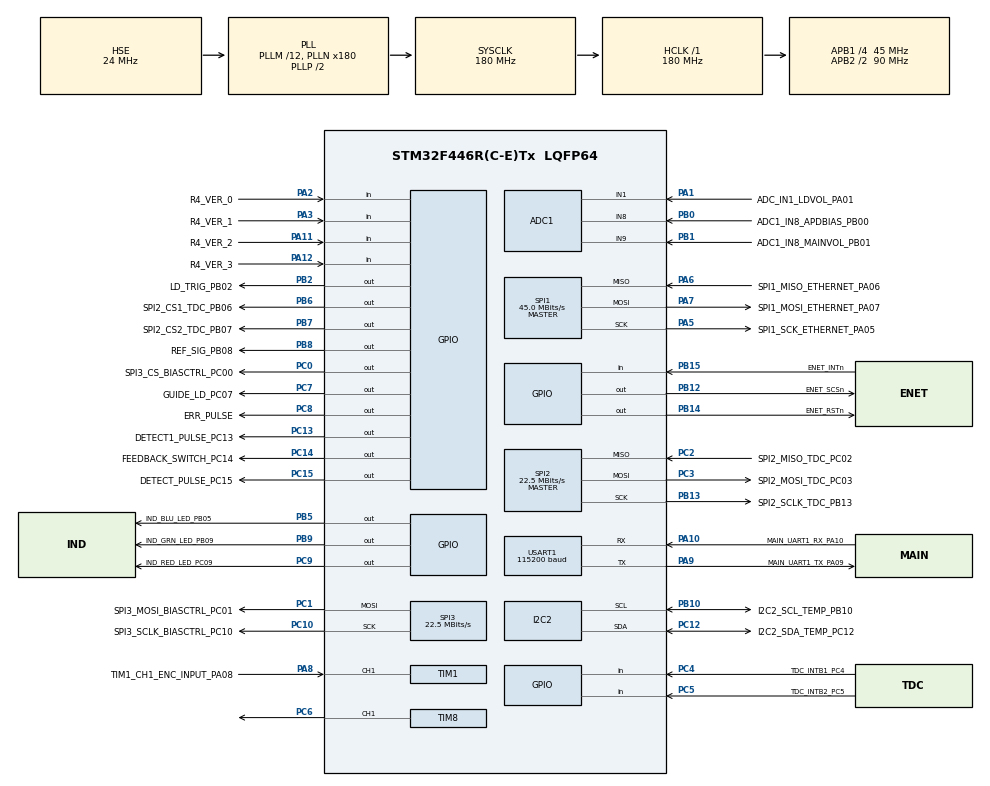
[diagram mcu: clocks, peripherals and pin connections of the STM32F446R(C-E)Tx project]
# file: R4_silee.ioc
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ADC1.Channel-0\#ChannelRegularConversion=ADC_CHANNEL_1
ADC1.NbrOfConversion=1
ADC1.NbrOfConversionFlag=1
ADC1.Rank-0\#ChannelRegularConversion=1
ADC1.SamplingTime-0\#ChannelRegularConversion=ADC_SAMPLETIME_3CYCLES
ADC1.master=1
I2C2.GeneralCallMode=I2C_GENERALCALL_ENABLE
I2C2.I2C_Mode=I2C_Fast
Mcu.Family=STM32F4
Mcu.Name=STM32F446R(C-E)Tx
Mcu.Package=LQFP64
NVIC.PriorityGroup=NVIC_PRIORITYGROUP_4
NVIC.TIM1_CC_IRQn=true\:4\:0\:true\:false\:true\:true\:true\:true
NVIC.TIM2_IRQn=true\:2\:0\:true\:false\:true\:true\:true\:true
NVIC.USART1_IRQn=true\:1\:0\:true\:false\:true\:true\:true\:true
PA1.GPIO_Label=ADC_IN1_LDVOL_PA01
PA1.Signal=ADCx_IN1
PA10.GPIO_Label=MAIN_UART1_RX_PA10
PA10.Mode=Asynchronous
PA10.Signal=USART1_RX
PA11.GPIO_Label=R4_VER_2
PA11.Signal=GPIO_Input
PA12.GPIO_Label=R4_VER_3
PA12.Signal=GPIO_Input
PA13.GPIO_Label=SYS_JTMS_PA13
PA13.Mode=JTAG_5_pins
PA13.Signal=SYS_JTMS-SWDIO
PA14.GPIO_Label=SYS_JTCK_PA14
PA14.Mode=JTAG_5_pins
PA14.Signal=SYS_JTCK-SWCLK
PA15.GPIO_Label=SYS_JTDI_PA15
PA15.Mode=JTAG_5_pins
PA15.Signal=SYS_JTDI
PA2.GPIO_Label=R4_VER_0
PA2.Signal=GPIO_Input
PA3.GPIO_Label=R4_VER_1
PA3.Signal=GPIO_Input
PA5.GPIO_Label=SPI1_SCK_ETHERNET_PA05
PA5.Mode=Full_Duplex_Master
PA5.Signal=SPI1_SCK
PA6.GPIO_Label=SPI1_MISO_ETHERNET_PA06
PA6.Mode=Full_Duplex_Master
PA6.Signal=SPI1_MISO
PA7.GPIO_Label=SPI1_MOSI_ETHERNET_PA07
PA7.Mode=Full_Duplex_Master
PA7.Signal=SPI1_MOSI
PA8.GPIO_Label=TIM1_CH1_ENC_INPUT_PA08
PA8.GPIO_Speed=GPIO_SPEED_FREQ_VERY_HIGH
PA8.Signal=S_TIM1_CH1
PA9.GPIO_Label=MAIN_UART1_TX_PA09
PA9.Mode=Asynchronous
PA9.Signal=USART1_TX
PB0.GPIO_Label=ADC1_IN8_APDBIAS_PB00
PB0.Signal=ADCx_IN8
PB1.GPIO_Label=ADC1_IN8_MAINVOL_PB01
PB1.Signal=ADCx_IN9
PB10.GPIO_Label=I2C2_SCL_TEMP_PB10
PB10.Mode=I2C
PB10.Signal=I2C2_SCL
PB12.GPIO_Label=ENET_SCSn
PB12.GPIO_Speed=GPIO_SPEED_FREQ_HIGH
PB12.Signal=GPIO_Output
PB13.GPIO_Label=SPI2_SCLK_TDC_PB13
PB13.Mode=Full_Duplex_Master
PB13.Signal=SPI2_SCK
PB14.GPIO_Label=ENET_RSTn
PB14.GPIO_Speed=GPIO_SPEED_FREQ_HIGH
PB14.Signal=GPIO_Output
PB15.GPIO_Label=ENET_INTn
PB15.Signal=GPIO_Input
PB2.GPIO_Label=LD_TRIG_PB02
PB2.GPIO_PuPd=GPIO_PULLDOWN
PB2.GPIO_Speed=GPIO_SPEED_FREQ_VERY_HIGH
PB2.Signal=GPIO_Output
PB3.Mode=JTAG_5_pins
PB3.Signal=SYS_JTDO-SWO
PB4.GPIO_Label=SYS_JTRST_PB04
PB4.Mode=JTAG_5_pins
PB4.Signal=SYS_JTRST
PB5.GPIO_Label=IND_BLU_LED_PB05
PB5.Signal=GPIO_Output
PB6.GPIO_Label=SPI2_CS1_TDC_PB06
PB6.GPIO_PuPd=GPIO_PULLUP
PB6.GPIO_Speed=GPIO_SPEED_FREQ_VERY_HIGH
PB6.PinState=GPIO_PIN_SET
PB6.Signal=GPIO_Output
PB7.GPIO_Label=SPI2_CS2_TDC_PB07
PB7.GPIO_PuPd=GPIO_PULLUP
PB7.GPIO_Speed=GPIO_SPEED_FREQ_VERY_HIGH
PB7.PinState=GPIO_PIN_SET
PB7.Signal=GPIO_Output
PB8.GPIO_Label=REF_SIG_PB08
PB8.GPIO_Speed=GPIO_SPEED_FREQ_VERY_HIGH
PB8.Signal=GPIO_Output
PB9.GPIO_Label=IND_GRN_LED_PB09
PB9.Signal=GPIO_Output
PC0.GPIO_Label=SPI3_CS_BIASCTRL_PC00
PC0.GPIO_Speed=GPIO_SPEED_FREQ_VERY_HIGH
PC0.Signal=GPIO_Output
PC1.GPIO_Label=SPI3_MOSI_BIASCTRL_PC01
PC1.Mode=TX_Only_Simplex_Unidirect_Master
PC1.Signal=SPI3_MOSI
PC10.GPIO_Label=SPI3_SCLK_BIASCTRL_PC10
PC10.Mode=TX_Only_Simplex_Unidirect_Master
PC10.Signal=SPI3_SCK
PC12.GPIO_Label=I2C2_SDA_TEMP_PC12
PC12.Mode=I2C
PC12.Signal=I2C2_SDA
PC13.GPIO_Label=DETECT1_PULSE_PC13
PC13.Signal=GPIO_Output
PC14-OSC32_IN.GPIO_Label=FEEDBACK_SWITCH_PC14
PC14-OSC32_IN.Signal=GPIO_Output
PC15-OSC32_OUT.GPIO_Label=DETECT_PULSE_PC15
PC15-OSC32_OUT.Signal=GPIO_Output
PC2.GPIO_Label=SPI2_MISO_TDC_PC02
PC2.Mode=Full_Duplex_Master
PC2.Signal=SPI2_MISO
PC3.GPIO_Label=SPI2_MOSI_TDC_PC03
PC3.Mode=Full_Duplex_Master
PC3.Signal=SPI2_MOSI
PC4.GPIO_Label=TDC_INTB1_PC4
PC4.Signal=GPIO_Input
PC5.GPIO_Label=TDC_INTB2_PC5
PC5.Signal=GPIO_Input
PC6.Signal=S_TIM8_CH1
PC7.GPIO_Label=GUIDE_LD_PC07
PC7.Signal=GPIO_Output
PC8.GPIO_Label=ERR_PULSE
PC8.Signal=GPIO_Output
PC9.GPIO_Label=IND_RED_LED_PC09
PC9.Signal=GPIO_Output
PH0-OSC_IN.GPIO_Label=MCU_MAIN_CLK
PH0-OSC_IN.Mode=HSE-External-Oscillator
PH0-OSC_IN.Signal=RCC_OSC_IN
PH1-OSC_OUT.Mode=HSE-External-Oscillator
PH1-OSC_OUT.Signal=RCC_OSC_OUT
ProjectManager.HeapSize=0x4000
ProjectManager.StackSize=0x4000
ProjectManager.TargetToolchain=STM32CubeIDE
RCC.48MHZClocksFreq_Value=84000000
RCC.AHBFreq_Value=180000000
RCC.APB1CLKDivider=RCC_HCLK_DIV4
RCC.APB1Freq_Value=45000000
RCC.APB1TimFreq_Value=90000000
RCC.APB2CLKDivider=RCC_HCLK_DIV2
RCC.APB2Freq_Value=90000000
RCC.APB2TimFreq_Value=180000000
RCC.CortexFreq_Value=180000000
RCC.DATA_CACHE_ENABLE=1
RCC.FLatency-AdvancedSettings=FLASH_LATENCY_5
RCC.HCLKFreq_Value=180000000
RCC.HSE_VALUE=24000000
RCC.HSI_VALUE=16000000
RCC.INSTRUCTION_CACHE_ENABLE=1
RCC.PLLM=12
RCC.PLLN=180
RCC.PLLSourceVirtual=RCC_PLLSOURCE_HSE
RCC.PREFETCH_ENABLE=1
RCC.RCC_TIM_PRescaler_Selection=RCC_TIMPRES_DESACTIVATED
RCC.SYSCLKFreq_VALUE=180000000
RCC.SYSCLKSource=RCC_SYSCLKSOURCE_PLLCLK
RCC.USBFreq_Value=180000000
RCC.VCOOutputFreq_Value=360000000
SH.ADCx_IN1.0=ADC1_IN1,IN1
SH.ADCx_IN8.0=ADC1_IN8,IN8
SH.ADCx_IN9.0=ADC1_IN9,IN9
SH.S_TIM1_CH1.0=TIM1_CH1,Input_Capture1_from_TI1
SH.S_TIM8_CH1.0=TIM8_CH1,PWM Generation1 CH1
SPI1.BaudRatePrescaler=SPI_BAUDRATEPRESCALER_2
SPI1.CalculateBaudRate=45.0 MBits/s
SPI1.Direction=SPI_DIRECTION_2LINES
SPI1.Mode=SPI_MODE_MASTER
SPI1.VirtualType=VM_MASTER
SPI2.BaudRatePrescaler=SPI_BAUDRATEPRESCALER_2
SPI2.CalculateBaudRate=22.5 MBits/s
SPI2.DataSize=SPI_DATASIZE_16BIT
SPI2.Direction=SPI_DIRECTION_2LINES
SPI2.Mode=SPI_MODE_MASTER
SPI2.VirtualType=VM_MASTER
SPI3.BaudRatePrescaler=SPI_BAUDRATEPRESCALER_2
SPI3.CalculateBaudRate=22.5 MBits/s
SPI3.DataSize=SPI_DATASIZE_16BIT
SPI3.Direction=SPI_DIRECTION_2LINES
SPI3.Mode=SPI_MODE_MASTER
SPI3.VirtualType=VM_MASTER
TIM1.Channel-Input_Capture1_from_TI1=TIM_CHANNEL_1
TIM1.ICPolarity_CH1=TIM_INPUTCHANNELPOLARITY_RISING
TIM1.Period=65535
TIM1.Prescaler=180-1
TIM2.Period=20699
TIM2.Prescaler=0
TIM8.Channel-PWM\ Generation1\ CH1=TIM_CHANNEL_1
TIM8.Period=20000-1
TIM8.Pulse-PWM\ Generation1\ CH1=2455
USART1.BaudRate=115200
USART1.VirtualMode=VM_ASYNC
VP_TIM1_VS_ClockSourceINT.Mode=Internal
VP_TIM2_VS_ClockSourceINT.Mode=Internal
VP_TIM3_VS_ClockSourceINT.Mode=Internal
VP_TIM8_VS_ClockSourceINT.Mode=Internal
board=NUCLEO-F446RE

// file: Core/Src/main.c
/* USER CODE BEGIN Header */
/**
  ******************************************************************************
  * @file           : main.c
  * @brief          : Main program body
  ******************************************************************************
  * @attention
  *
  * Copyright (c) 2025 STMicroelectronics.
  * All rights reserved.
  *
  * This software is licensed under terms that can be found in the LICENSE file
  * in the root directory of this software component.
  * If no LICENSE file comes with this software, it is provided AS-IS.
  *
  ******************************************************************************
  */
/* USER CODE END Header */
#include "main.h"
#include "adc.h"
#include "i2c.h"
#include "spi.h"
#include "tim.h"
#include "usart.h"
#include "gpio.h"

/* USER CODE BEGIN Includes */
#include "com.h"
#include "tmp.h"
#include "TDC.h"
#include "LD.h"
#include "enc.h"
#include <stdio.h>
/* USER CODE END Includes */

/* USER CODE BEGIN PD */
extern I2C_HandleTypeDef hi2c2;
extern UART_HandleTypeDef huart1;
extern unsigned int read_done;

int com_Flag = 0;
int LD_Flag = 0;
int enc_Flag = 0;
/* USER CODE END PD */

/* USER CODE BEGIN PV */

uint8_t rx_ch;
uint8_t rx_line[64];
volatile uint16_t rx_idx = 0;

/* USER CODE END PV */

void SystemClock_Config(void);

/* USER CODE BEGIN 0 */

int __io_putchar(int ch){
 	uint8_t c = (uint8_t)ch;
 	HAL_UART_Transmit(&huart1, &c, 1, HAL_MAX_DELAY);
     return ch;
 }
/* USER CODE END 0 */

int main(void)
{

  /* MCU Configuration--------------------------------------------------------*/

  /* Reset of all peripherals, Initializes the Flash interface and the Systick. */
  HAL_Init();

  /* Configure the system clock */
  SystemClock_Config();

  /* Initialize all configured peripherals */
  MX_GPIO_Init();
  MX_SPI1_Init();
  MX_USART1_UART_Init();
  MX_ADC1_Init();
  MX_TIM1_Init();
  MX_SPI2_Init();
  MX_SPI3_Init();
  MX_I2C2_Init();
  MX_TIM2_Init();
  MX_TIM8_Init();
  MX_TIM3_Init();
  /* USER CODE BEGIN 2 */
  HAL_GPIO_WritePin(GPIOB,IND_GRN_LED_PB09_Pin,GPIO_PIN_SET);
  HAL_UART_Receive_IT(&huart1, &rx_ch, 1);		// use for UART (TeraTerm)
  Com_Init();
  __HAL_SPI_ENABLE(&hspi1);
  __HAL_SPI_ENABLE(&hspi2);
  __HAL_SPI_ENABLE(&hspi3);
  TDC_Init();
  /* USER CODE END 2 */

  /* Infinite loop */
  while (1)
  {

    /* USER CODE BEGIN 3 */
	  	 if(com_Flag == 1) {
	  		Com_OnRxChar(rx_ch);
	  		HAL_UART_Receive_IT(&huart1, &rx_ch, 1);
	  		com_Flag = 0;
	  	}

		  if(LD_Flag == 1) {
			  LD_ON();
			  LD_Flag = 0;
		  }

		  if(enc_Flag == 1) {
			  enc_read();
			  enc_Flag = 0;
		  }
	  	  enc_calc();
  }
  /* USER CODE END 3 */
}

void SystemClock_Config(void)
{
  RCC_OscInitTypeDef RCC_OscInitStruct = {0};
  RCC_ClkInitTypeDef RCC_ClkInitStruct = {0};

  /** Configure the main internal regulator output voltage
  */
  __HAL_RCC_PWR_CLK_ENABLE();
  __HAL_PWR_VOLTAGESCALING_CONFIG(PWR_REGULATOR_VOLTAGE_SCALE1);

  /** Initializes the RCC Oscillators according to the specified parameters
  * in the RCC_OscInitTypeDef structure.
  */
  RCC_OscInitStruct.OscillatorType = RCC_OSCILLATORTYPE_HSE;
  RCC_OscInitStruct.HSEState = RCC_HSE_ON;
  RCC_OscInitStruct.PLL.PLLState = RCC_PLL_ON;
  RCC_OscInitStruct.PLL.PLLSource = RCC_PLLSOURCE_HSE;
  RCC_OscInitStruct.PLL.PLLM = 12;
  RCC_OscInitStruct.PLL.PLLN = 180;
  RCC_OscInitStruct.PLL.PLLP = RCC_PLLP_DIV2;
  RCC_OscInitStruct.PLL.PLLQ = 2;
  RCC_OscInitStruct.PLL.PLLR = 2;
  if (HAL_RCC_OscConfig(&RCC_OscInitStruct) != HAL_OK)
  {
    Error_Handler();
  }

  /** Activate the Over-Drive mode
  */
  if (HAL_PWREx_EnableOverDrive() != HAL_OK)
  {
    Error_Handler();
  }

  /** Initializes the CPU, AHB and APB buses clocks
  */
  RCC_ClkInitStruct.ClockType = RCC_CLOCKTYPE_HCLK|RCC_CLOCKTYPE_SYSCLK
                              |RCC_CLOCKTYPE_PCLK1|RCC_CLOCKTYPE_PCLK2;
  RCC_ClkInitStruct.SYSCLKSource = RCC_SYSCLKSOURCE_PLLCLK;
  RCC_ClkInitStruct.AHBCLKDivider = RCC_SYSCLK_DIV1;
  RCC_ClkInitStruct.APB1CLKDivider = RCC_HCLK_DIV4;
  RCC_ClkInitStruct.APB2CLKDivider = RCC_HCLK_DIV2;

  if (HAL_RCC_ClockConfig(&RCC_ClkInitStruct, FLASH_LATENCY_5) != HAL_OK)
  {
    Error_Handler();
  }
}

/* USER CODE BEGIN 4 */

void HAL_TIM_PeriodElapsedCallback(TIM_HandleTypeDef *htim) {

	if (htim->Instance == htim2.Instance) {
		LD_Flag = 1;
	}
}

void HAL_TIM_IC_CaptureCallback(TIM_HandleTypeDef *htim) {

	if (htim->Instance == TIM1 && htim->Channel == HAL_TIM_ACTIVE_CHANNEL_1) {
		enc_Flag = 1;
	}
}

void HAL_UART_RxCpltCallback(UART_HandleTypeDef *huart) {

	 if (huart->Instance == USART1) {
		 com_Flag = 1;
	}
}

static void _delay_tick(uint32_t uiCount)
{
	__asm(" subs r0, #1\n"
				" bne.n _delay_tick\n"
				" bx lr");
}

void DelayUs(uint32_t us)
{
	_delay_tick(us * (SystemCoreClock / 3U / 1000000U)); /*fixed for MISRA rule 10.1*/
}

void DelayMs(uint32_t ms)
{
	DelayUs(ms * 1000U); /*fixed for MISRA rule 10.1*/
}

/* USER CODE END 4 */

void Error_Handler(void)
{
  __disable_irq();
  while (1)
  {
  }
}
